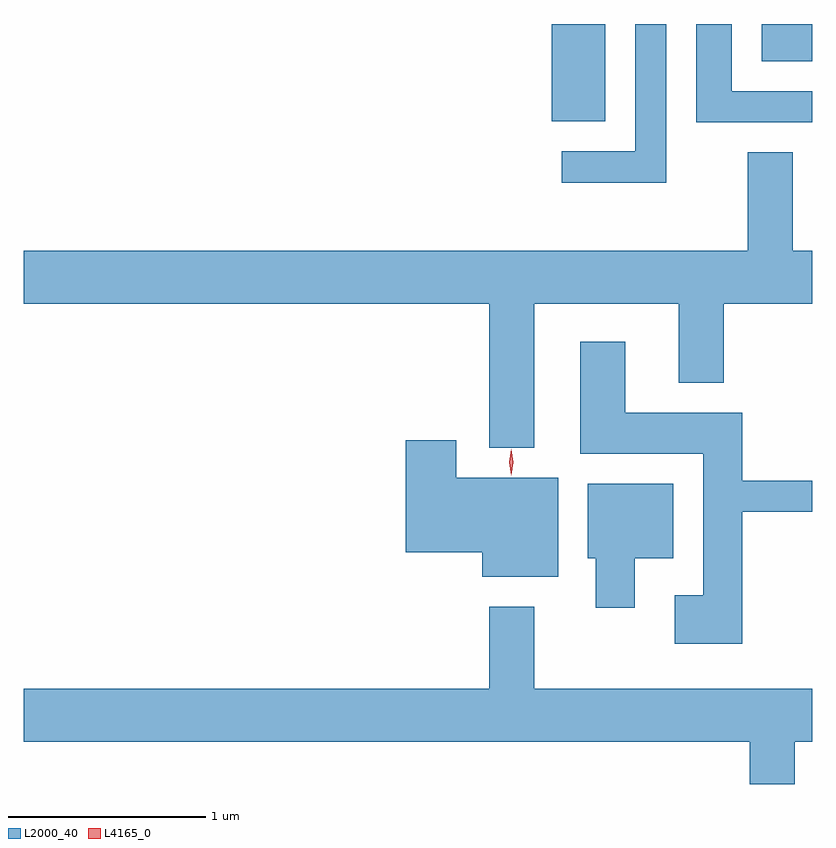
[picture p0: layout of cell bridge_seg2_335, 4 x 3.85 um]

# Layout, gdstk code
import gdstk
lib = gdstk.Library(unit=1e-6, precision=1e-09)
def R(c, l, rs):  # rectangles x0, y0, x1, y1
    for r in rs: c.add(gdstk.rectangle(r[:2], r[2:], *l))
def P(c, l, *ps):  # polygons
    for p in ps: c.add(gdstk.Polygon(p, *l))
L2000_40 = (2000, 40)
L4165_0 = (4165, 0)

bridge_seg2_335 = lib.new_cell('bridge_seg2_335')
R(bridge_seg2_335, L2000_40, [(423.946,982.641,424.219,983.135), (425.011,982.946,425.269,983.135)])
P(bridge_seg2_335, L2000_40, [(425.269,982.794),(424.859,982.794),(424.859,983.135),(424.681,983.135),(424.681,982.636),(425.269,982.636)],
  [(424.529,983.135),(424.371,983.135),(424.371,982.489),(423.998,982.489),(423.998,982.331),(424.529,982.331)],
  [(423.859,981.716),(424.591,981.716),(424.591,981.316),(424.819,981.316),(424.819,981.716),(425.269,981.716),(425.269,981.984),(425.169,981.984),(425.169,982.484),(424.941,982.484),(424.941,981.984),(421.269,981.984),(421.269,981.716),(423.631,981.716),(423.631,980.986),(423.859,980.986)],
  [(424.914,980.661),(425.269,980.661),(425.269,980.819),(424.914,980.819),(424.914,981.164),(424.319,981.164),(424.319,981.524),(424.091,981.524),(424.091,980.956),(424.716,980.956),(424.716,980.239),(424.571,980.239),(424.571,979.991),(424.914,979.991)],
  [(423.979,980.834),(423.464,980.834),(423.464,981.024),(423.206,981.024),(423.206,980.456),(423.596,980.456),(423.596,980.331),(423.979,980.331)],
  [(424.369,980.426),(424.564,980.426),(424.564,980.804),(424.131,980.804),(424.131,980.426),(424.171,980.426),(424.171,980.176),(424.369,980.176)],
  [(425.179,979.496),(425.269,979.496),(425.269,979.764),(423.859,979.764),(423.859,980.179),(423.631,980.179),(423.631,979.764),(421.269,979.764),(421.269,979.496),(424.951,979.496),(424.951,979.281),(425.179,979.281)])
P(bridge_seg2_335, L4165_0, [(423.741,980.846),(423.732,980.912),(423.741,980.979),(423.742,980.979),(423.742,980.979),(423.752,980.912),(423.742,980.846),(423.742,980.846)])

lib.write_gds('bridge_seg2_335.gds')
